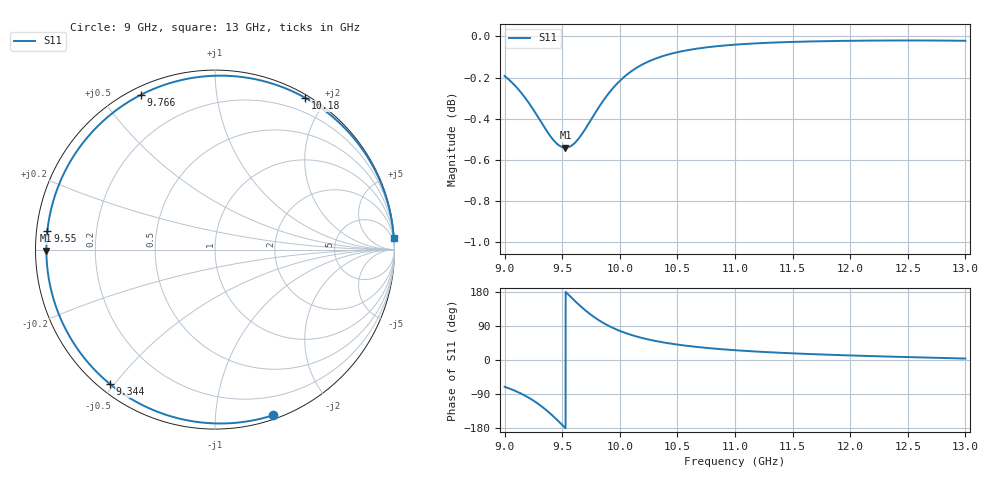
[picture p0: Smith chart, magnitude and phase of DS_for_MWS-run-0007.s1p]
! TOUCHSTONE file generated by CST DESIGN STUDIO
! Date and time: Wed Feb  5 13:20:46 2025
! Project name: C:\Work\MatlabApps\UnitCellOptimizationMatlab\CST\unitcell.cst
! Tree item: Tasks\Sweep1\SPara1\S-Parameters
! Header version: 2024
! Port assignment regex: !\s*Touchstone port\s*([0-9]+)\s*=\s*(CST MWS port|CST DES external port|CST DES block port)\s*(.+)\s* \(\"(.*)\"\)(\s*mode\s*([0-9]+))?.*
! Touchstone port assignment:
! Touchstone port 1 = CST DES external port 1 ("")
# GHz S MA R 50
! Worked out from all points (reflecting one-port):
!   4001 points, 9 GHz to 13 GHz, reference 50 ohm
!   lowest |S11| = -0.5 dB at 9.528 GHz (marker M1), VSWR 32.13, Z = 1.56 - j0.145 ohm
!   phase of S11 starts at -71 deg and turns -285 deg over the sweep
!   S11 on the Smith chart (normalised r, x): 9 GHz: 0.03, -1.41; 9.344 GHz: 0.03, -0.49; 9.55 GHz: 0.03, +0.06; 9.766 GHz: 0.03, +0.63; 10.18 GHz: 0.03, +1.76; 13 GHz: 1, +30
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9  0.9781 -70.7
9.096  0.9725 -82.0
9.202  0.9642 -98.2
9.277  0.9572 -112.6
9.344  0.9506 -127.9
9.387  0.9466 -138.8
9.431  0.9432 -150.9
9.5  0.9399 -171.2
9.528  0.9396 -179.7
9.55  0.9398 173.7
9.604  0.9418 157.6
9.664  0.9462 140.7
9.714  0.9509 127.8
9.766  0.9561 115.7
9.815  0.9609 105.5
9.868  0.9657 95.9
9.934  0.971 85.5
10  0.9755 76.8
10.086  0.9801 67.5
10.18  0.9839 59.2
10.326  0.9881 49.3
10.5  0.9912 40.7
10.721  0.9937 32.8
11  0.9954 25.8
11.5  0.997 17.6
12  0.9976 12.0
12.5  0.9978 7.7
13  0.9976 3.8
